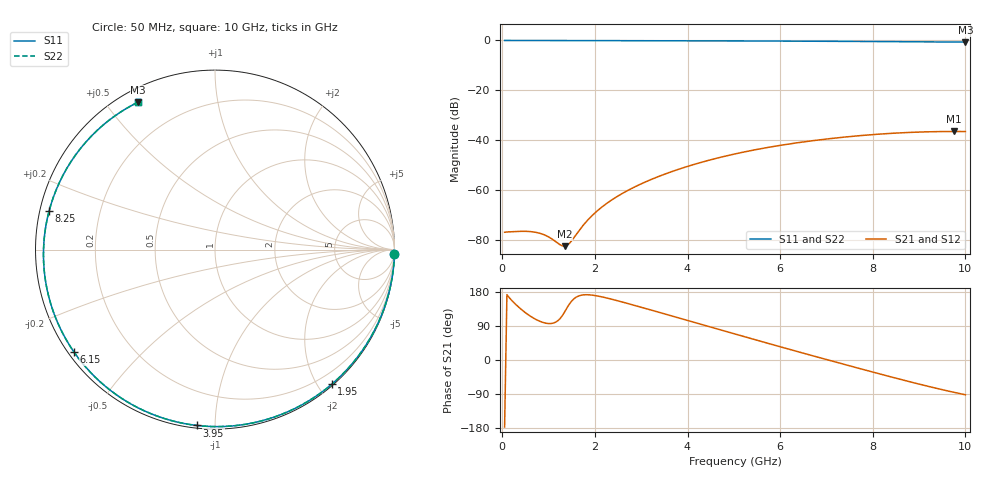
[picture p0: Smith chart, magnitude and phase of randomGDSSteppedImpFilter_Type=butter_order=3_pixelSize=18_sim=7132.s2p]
! freq	dB(S11)	phase(S11)	dB(S12)	phase(S12)
!  dB(S21)	phase(S21)	dB(S22)	phase(S22)
!S-par simulation data
#  GHz  S  DB  R 50
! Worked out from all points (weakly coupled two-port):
!   200 points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, 50 MHz to 10 GHz, reference 50 ohm
!   highest |S21| = -36.51 dB at 9.75 GHz (marker M1); lowest = -82.5 dB at 1.35 GHz (marker M2)
!   lowest |S11| = -0.7 dB at 10 GHz (marker M3), VSWR 26.25, Z = 2.6 + j30.3 ohm
!   |S11| at or under -10 dB: nowhere
!   |S22| runs from -0.7 to 0.0 dB; largest |S21 - S12| = 0
!   S11 on the Smith chart (normalised r, x): 50 MHz: 0, -89; 1.95 GHz: 0.02, -2.19; 3.95 GHz: 0.01, -0.90; 6.15 GHz: 0.02, -0.32; 8.25 GHz: 0.03, +0.11; 10 GHz: 0.05, +0.61
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0.05  -0.00 -1.3  -76.93 -176.7  -76.93 -176.7  -0.00 -1.3
0.65  -0.02 -16.7  -76.75 112.3  -76.75 112.3  -0.02 -16.7
0.9  -0.03 -23.0  -77.93 98.4  -77.93 98.4  -0.03 -23.0
1.1  -0.04 -28.1  -79.98 97.3  -79.98 97.3  -0.04 -28.1
1.35  -0.04 -34.3  -82.52 127.6  -82.52 127.6  -0.04 -34.3
1.5  -0.05 -38.1  -80.26 155.8  -80.26 155.8  -0.05 -38.1
1.75  -0.06 -44.2  -74.06 171.8  -74.06 171.8  -0.06 -44.2
1.95  -0.06 -49.1  -70.05 171.1  -70.05 171.1  -0.06 -49.1
2.2  -0.07 -55.2  -66.11 165.3  -66.11 165.3  -0.07 -55.2
2.55  -0.08 -63.6  -61.82 154.4  -61.82 154.4  -0.08 -63.6
3.4  -0.11 -83.4  -54.38 125.3  -54.38 125.3  -0.11 -83.4
3.95  -0.13 -95.8  -50.81 106.2  -50.81 106.2  -0.13 -95.8
4.5  -0.16 -108.0  -47.86 86.9  -47.86 86.9  -0.16 -108.0
5.05  -0.18 -120.1  -45.41 67.7  -45.41 67.7  -0.18 -120.1
6.15  -0.26 -144.1  -41.65 29.8  -41.65 29.8  -0.26 -144.1
6.7  -0.30 -156.3  -40.22 11.3  -40.22 11.3  -0.30 -156.3
7.5  -0.37 -174.6  -38.56 -15.4  -38.56 -15.4  -0.37 -174.6
8.25  -0.45 167.0  -37.43 -40.0  -37.43 -40.0  -0.45 167.1
8.35  -0.47 164.5  -37.31 -43.2  -37.31 -43.2  -0.47 164.5
9.05  -0.55 145.8  -36.71 -65.1  -36.71 -65.1  -0.55 145.8
9.75  -0.63 125.3  -36.51 -85.2  -36.51 -85.2  -0.63 125.3
10  -0.66 117.5  -36.54 -91.8  -36.54 -91.8  -0.66 117.5
